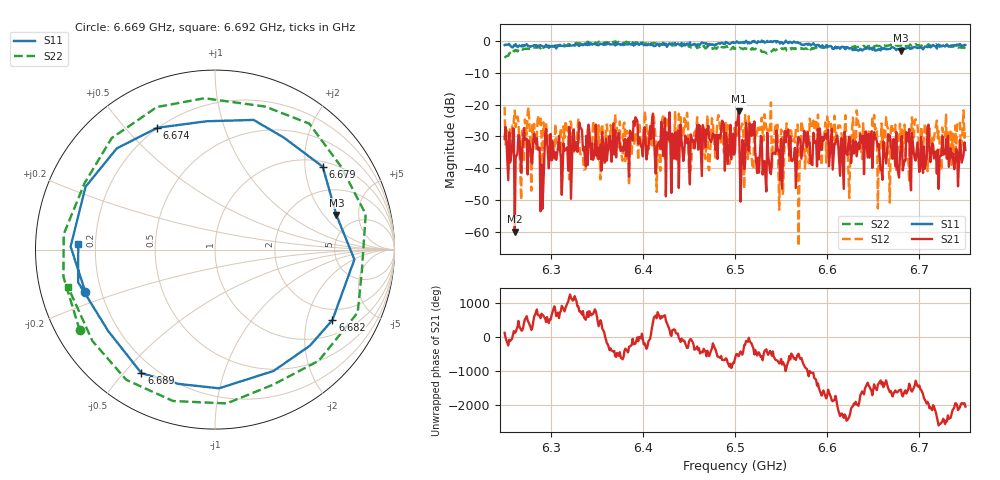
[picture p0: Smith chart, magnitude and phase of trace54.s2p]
# Hz S RI R 50
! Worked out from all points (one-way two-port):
!   401 points, 6.25 GHz to 6.75 GHz, reference 50 ohm
!   highest |S21| = -22.15 dB at 6.504 GHz (marker M1); lowest = -60.0 dB at 6.261 GHz (marker M2)
!   lowest |S11| = -3.1 dB at 6.68 GHz (marker M3), VSWR 5.74, Z = 178 + j136 ohm
!   |S11| at or under -10 dB: nowhere
!   |S22| runs from -5.3 to -0.1 dB; largest |S21 - S12| = 0.11
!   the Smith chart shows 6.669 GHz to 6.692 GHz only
!   S11 on the Smith chart (normalised r, x): 6.669 GHz: 0.14, -0.16; 6.674 GHz: 0.20, +0.61; 6.679 GHz: 1.14, +2.48; 6.682 GHz: 1.53, -2.87; 6.689 GHz: 0.15, -0.56; 6.692 GHz: 0.13, +0.02
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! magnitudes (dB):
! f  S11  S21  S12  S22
! 6.25 GHz  -1.3  -30.8  -20.7  -5.3
! 6.261 GHz  -1.6  -60.0  -21.9  -3.2
! 6.269 GHz  -1.3  -34.3  -28.3  -2.7
! 6.285 GHz  -1.8  -30.6  -29.3  -2.0
! 6.29 GHz  -1.5  -38.9  -29.7  -1.6
! 6.296 GHz  -1.5  -31.1  -29.8  -1.7
! 6.334 GHz  -1.0  -28.1  -35.6  -1.1
! 6.368 GHz  -1.0  -25.9  -27.3  -0.2
! 6.418 GHz  -1.6  -31.6  -35.3  -0.9
! 6.5 GHz  -0.6  -34.7  -28.6  -2.2
! 6.504 GHz  -0.6  -22.2  -27.3  -2.5
! 6.571 GHz  -0.7  -31.4  -33.7  -2.5
! 6.584 GHz  -1.0  -39.1  -27.6  -2.2
! 6.668 GHz  -2.5  -29.8  -50.9  -1.4
! 6.669 GHz  -2.4  -33.0  -28.4  -1.1
! 6.674 GHz  -2.5  -39.5  -26.4  -1.4
! 6.679 GHz  -2.4  -36.2  -26.1  -1.1
! 6.68 GHz  -3.1  -32.6  -30.2  -1.5
! 6.682 GHz  -2.3  -40.7  -35.0  -1.6
! 6.689 GHz  -1.9  -27.7  -44.4  -1.2
! 6.692 GHz  -2.4  -28.9  -24.0  -1.5
! 6.75 GHz  -1.3  -34.4  -27.5  -2.2
